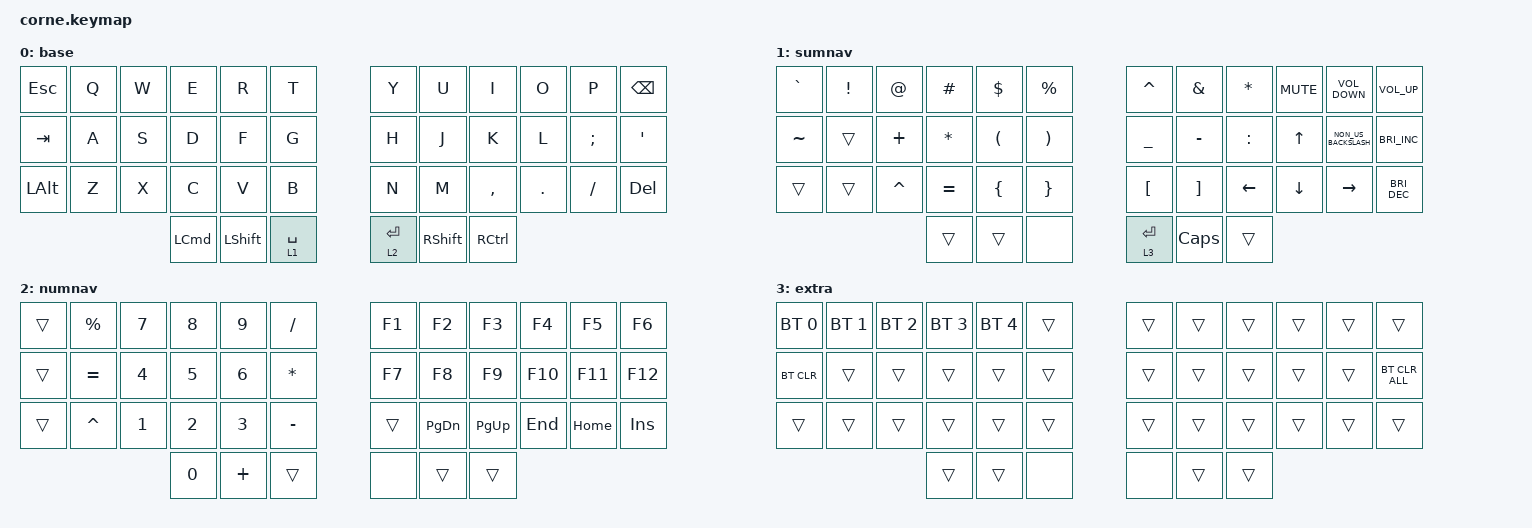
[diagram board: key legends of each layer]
/*
 * Copyright (c) 2020 The ZMK Contributors
 *
 * SPDX-License-Identifier: MIT
 */

#define ZMK_POINTING_DEFAULT_MOVE_VAL 1500  // default: 600
#define ZMK_POINTING_DEFAULT_SCRL_VAL 20    // default: 10

#include <behaviors.dtsi>
#include <dt-bindings/zmk/bt.h>
#include <dt-bindings/zmk/keys.h>

/ {
    combos { compatible = "zmk,combos"; };

    keymap {
        compatible = "zmk,keymap";

        base {
            // -----------------------------------------------------------------------------------------
            // |  TAB |  Q  |  W  |  E  |  R  |  T  |   |  Y  |  U   |  I  |  O  |  P  | BKSP |
            // | CTRL |  A  |  S  |  D  |  F  |  G  |   |  H  |  J   |  K  |  L  |  ;  |  '   |
            // | SHFT |  Z  |  X  |  C  |  V  |  B  |   |  N  |  M   |  ,  |  .  |  /  | ESC  |
            //                    | GUI | LWR | SPC |   | ENT | RSE  | ALT |

            bindings = <
&kp ESCAPE    &kp Q  &kp W  &kp E             &kp R           &kp T          &kp Y        &kp U            &kp I      &kp O    &kp P          &kp BACKSPACE
&kp TAB       &kp A  &kp S  &kp D             &kp F           &kp G          &kp H        &kp J            &kp K      &kp L    &kp SEMICOLON  &kp SQT
&kp LEFT_ALT  &kp Z  &kp X  &kp C             &kp V           &kp B          &kp N        &kp M            &kp COMMA  &kp DOT  &kp FSLH       &kp DELETE
                            &kp LEFT_COMMAND  &kp LEFT_SHIFT  &lt 1 SPACE    &lt 2 ENTER  &kp RIGHT_SHIFT  &kp RCTRL
            >;
        };

        sumnav {
            bindings = <
&kp GRAVE  &kp EXCLAMATION  &kp AT_SIGN  &kp POUND     &kp DOLLAR            &kp PERCENT              &kp CARET         &kp AMPERSAND      &kp ASTERISK    &kp K_MUTE      &kp C_VOLUME_DOWN     &kp C_VOLUME_UP
&kp TILDE  &trans           &kp PLUS     &kp ASTERISK  &kp LEFT_PARENTHESIS  &kp RIGHT_PARENTHESIS    &kp UNDERSCORE    &kp MINUS          &kp COLON       &kp UP_ARROW    &kp NON_US_BACKSLASH  &kp C_BRIGHTNESS_INC
&trans     &trans           &kp CARET    &kp EQUAL     &kp LEFT_BRACE        &kp RIGHT_BRACE          &kp LEFT_BRACKET  &kp RIGHT_BRACKET  &kp LEFT_ARROW  &kp DOWN_ARROW  &kp RIGHT             &kp C_BRIGHTNESS_DEC
                                         &trans        &trans                &none                    &lt 3 ENTER       &kp CAPSLOCK       &trans
            >;
        };

        numnav {
            bindings = <
&trans  &kp PERCENT  &kp NUMBER_7  &kp NUMBER_8  &kp NUMBER_9  &kp SLASH       &kp F1  &kp F2         &kp F3       &kp F4   &kp F5    &kp F6
&trans  &kp EQUAL    &kp NUMBER_4  &kp NUMBER_5  &kp NUMBER_6  &kp ASTERISK    &kp F7  &kp F8         &kp F9       &kp F10  &kp F11   &kp F12
&trans  &kp CARET    &kp NUMBER_1  &kp NUMBER_2  &kp NUMBER_3  &kp MINUS       &trans  &kp PAGE_DOWN  &kp PAGE_UP  &kp END  &kp HOME  &kp INSERT
                                   &kp NUMBER_0  &kp PLUS      &trans          &none   &trans         &trans
            >;
        };

        extra {
            bindings = <
&bt BT_SEL 0  &bt BT_SEL 1  &bt BT_SEL 2  &bt BT_SEL 3  &bt BT_SEL 4  &trans    &trans  &trans  &trans  &trans  &trans  &trans
&bt BT_CLR    &trans        &trans        &trans        &trans        &trans    &trans  &trans  &trans  &trans  &trans  &bt BT_CLR_ALL
&trans        &trans        &trans        &trans        &trans        &trans    &trans  &trans  &trans  &trans  &trans  &trans
                                          &trans        &trans        &none     &none   &trans  &trans
            >;
        };
    };
};
